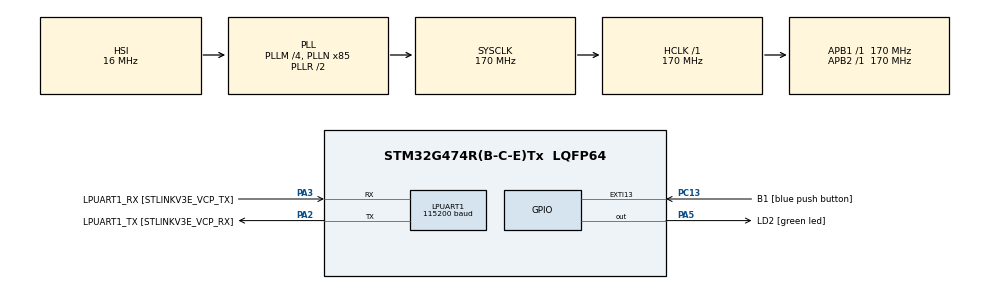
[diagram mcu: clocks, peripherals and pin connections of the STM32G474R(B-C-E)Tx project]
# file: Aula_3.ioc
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LPUART1.BaudRate=115200
LPUART1.WordLength=UART_WORDLENGTH_8B
Mcu.Family=STM32G4
Mcu.Name=STM32G474R(B-C-E)Tx
Mcu.Package=LQFP64
NVIC.EXTI15_10_IRQn=true\:0\:0\:false\:false\:true\:true\:true\:true
NVIC.PriorityGroup=NVIC_PRIORITYGROUP_4
PA13.GPIO_Label=T_SWDIO
PA13.Mode=Serial_Wire
PA13.Signal=SYS_JTMS-SWDIO
PA14.GPIO_Label=T_SWCLK
PA14.Mode=Serial_Wire
PA14.Signal=SYS_JTCK-SWCLK
PA2.GPIO_Label=LPUART1_TX [STLINKV3E_VCP_RX]
PA2.Mode=Asynchronous
PA2.Signal=LPUART1_TX
PA3.GPIO_Label=LPUART1_RX [STLINKV3E_VCP_TX]
PA3.Mode=Asynchronous
PA3.Signal=LPUART1_RX
PA5.GPIO_Label=LD2 [green led]
PA5.Signal=GPIO_Output
PB3.GPIO_Label=T_SWO
PB3.Signal=SYS_JTDO-SWO
PC13.GPIO_Label=B1 [blue push button]
PC13.Signal=GPXTI13
PC14-OSC32_IN.Mode=LSE-External-Oscillator
PC14-OSC32_IN.Signal=RCC_OSC32_IN
PC15-OSC32_OUT.Mode=LSE-External-Oscillator
PC15-OSC32_OUT.Signal=RCC_OSC32_OUT
PF0-OSC_IN.Mode=HSE-External-Oscillator
PF0-OSC_IN.Signal=RCC_OSC_IN
PF1-OSC_OUT.Mode=HSE-External-Oscillator
PF1-OSC_OUT.Signal=RCC_OSC_OUT
ProjectManager.HeapSize=0x200
ProjectManager.StackSize=0x400
ProjectManager.TargetToolchain=STM32CubeIDE
RCC.ADC12Freq_Value=170000000
RCC.ADC345Freq_Value=170000000
RCC.AHBFreq_Value=170000000
RCC.APB1Freq_Value=170000000
RCC.APB1TimFreq_Value=170000000
RCC.APB2Freq_Value=170000000
RCC.APB2TimFreq_Value=170000000
RCC.CortexFreq_Value=170000000
RCC.EXTERNAL_CLOCK_VALUE=12288000
RCC.HCLKFreq_Value=170000000
RCC.HSE_VALUE=24000000
RCC.HSI48_VALUE=48000000
RCC.HSI_VALUE=16000000
RCC.PLLM=RCC_PLLM_DIV4
RCC.PLLN=85
RCC.RTCClockSelection=RCC_RTCCLKSOURCE_LSE
RCC.SYSCLKFreq_VALUE=170000000
RCC.SYSCLKSource=RCC_SYSCLKSOURCE_PLLCLK
RCC.USBFreq_Value=170000000
RCC.VCOOutputFreq_Value=340000000
VP_SYS_VS_DBSignals.Mode=DisableDeadBatterySignals
board=NUCLEO-G474RE

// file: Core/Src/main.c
/* USER CODE BEGIN Header */
/**
  ******************************************************************************
  * @file           : main.c
  * @brief          : Main program body
  ******************************************************************************
  * @attention
  *
  * Copyright (c) 2023 STMicroelectronics.
  * All rights reserved.
  *
  * This software is licensed under terms that can be found in the LICENSE file
  * in the root directory of this software component.
  * If no LICENSE file comes with this software, it is provided AS-IS.
  *
  ******************************************************************************
  */
/* USER CODE END Header */
#include "main.h"

UART_HandleTypeDef hlpuart1;

void SystemClock_Config(void);
static void MX_GPIO_Init(void);
static void MX_LPUART1_UART_Init(void);
/* USER CODE BEGIN PFP */
void buttonsInitButtons(void);
void ledInitLed(void);
/* USER CODE END PFP */

int main(void)
{
  /* USER CODE BEGIN 1 */
	int iCount[6] = {0,0,0,0,0,0};
	buttons i;
  /* USER CODE END 1 */

  /* MCU Configuration--------------------------------------------------------*/

  /* Reset of all peripherals, Initializes the Flash interface and the Systick. */
  HAL_Init();

  /* Configure the system clock */
  SystemClock_Config();

  /* Initialize all configured peripherals */
  MX_GPIO_Init();
  MX_LPUART1_UART_Init();
  /* USER CODE BEGIN 2 */
  buttonsInitButtons();
  ledInitLed();
  /* USER CODE END 2 */

  /* Infinite loop */
  /* USER CODE BEGIN WHILE */
  while (1)
  {

	  /*Testing functions implemented in lab03:*/
	  /*Button Up = Led Green 1, iCount[1]*/
	  /*Button Down = Led Yellow, iCount[2]*/
	  /*Button Left = Led Red*, iCount[3]*/
	  /*Button Right = Led Green2, count4]*/
	  /*Button Enter = Led Blue, iCount[5]*/
	  /*Pressing button 1x = Turn on Led*/
	  /*Pressing button 2x = Turn off Led*/
	  /*Pressing button 3x = Toggle Led*/
	  for(i = UP; i<= ENTER; i++){
		  if(iButtonsReadStatus(i) && (iCount[i] == 0)){
			  iCount[i]++;
			  vLedTurnLedOn(i);
		  }else if(iButtonsReadStatus(i) && (iCount[i] == 1)){
			  iCount[i]++;
			  vLedTurnLedOff(i);
		  }else if(iButtonsReadStatus(i) && (iCount[i] == 2)){
			  iCount[i] ++;
			  vLedToggle(i);
		  }else if(iButtonsReadStatus(i) && (iCount[i] == 3)){
			  iCount[i] = 0;
			  vLedToggle(i);
		  }
		  /*For a better functionality, include the delay*/
		  /*HAL_Delay(50);*/
	  }

    /* USER CODE END WHILE */

  }
}

void SystemClock_Config(void)
{
  RCC_OscInitTypeDef RCC_OscInitStruct = {0};
  RCC_ClkInitTypeDef RCC_ClkInitStruct = {0};

  /** Configure the main internal regulator output voltage
  */
  HAL_PWREx_ControlVoltageScaling(PWR_REGULATOR_VOLTAGE_SCALE1_BOOST);

  /** Initializes the RCC Oscillators according to the specified parameters
  * in the RCC_OscInitTypeDef structure.
  */
  RCC_OscInitStruct.OscillatorType = RCC_OSCILLATORTYPE_HSI;
  RCC_OscInitStruct.HSIState = RCC_HSI_ON;
  RCC_OscInitStruct.HSICalibrationValue = RCC_HSICALIBRATION_DEFAULT;
  RCC_OscInitStruct.PLL.PLLState = RCC_PLL_ON;
  RCC_OscInitStruct.PLL.PLLSource = RCC_PLLSOURCE_HSI;
  RCC_OscInitStruct.PLL.PLLM = RCC_PLLM_DIV4;
  RCC_OscInitStruct.PLL.PLLN = 85;
  RCC_OscInitStruct.PLL.PLLP = RCC_PLLP_DIV2;
  RCC_OscInitStruct.PLL.PLLQ = RCC_PLLQ_DIV2;
  RCC_OscInitStruct.PLL.PLLR = RCC_PLLR_DIV2;
  if (HAL_RCC_OscConfig(&RCC_OscInitStruct) != HAL_OK)
  {
    Error_Handler();
  }

  /** Initializes the CPU, AHB and APB buses clocks
  */
  RCC_ClkInitStruct.ClockType = RCC_CLOCKTYPE_HCLK|RCC_CLOCKTYPE_SYSCLK
                              |RCC_CLOCKTYPE_PCLK1|RCC_CLOCKTYPE_PCLK2;
  RCC_ClkInitStruct.SYSCLKSource = RCC_SYSCLKSOURCE_PLLCLK;
  RCC_ClkInitStruct.AHBCLKDivider = RCC_SYSCLK_DIV1;
  RCC_ClkInitStruct.APB1CLKDivider = RCC_HCLK_DIV1;
  RCC_ClkInitStruct.APB2CLKDivider = RCC_HCLK_DIV1;

  if (HAL_RCC_ClockConfig(&RCC_ClkInitStruct, FLASH_LATENCY_4) != HAL_OK)
  {
    Error_Handler();
  }
}

static void MX_LPUART1_UART_Init(void)
{

  hlpuart1.Instance = LPUART1;
  hlpuart1.Init.BaudRate = 115200;
  hlpuart1.Init.WordLength = UART_WORDLENGTH_8B;
  hlpuart1.Init.StopBits = UART_STOPBITS_1;
  hlpuart1.Init.Parity = UART_PARITY_NONE;
  hlpuart1.Init.Mode = UART_MODE_TX_RX;
  hlpuart1.Init.HwFlowCtl = UART_HWCONTROL_NONE;
  hlpuart1.Init.OneBitSampling = UART_ONE_BIT_SAMPLE_DISABLE;
  hlpuart1.Init.ClockPrescaler = UART_PRESCALER_DIV1;
  hlpuart1.AdvancedInit.AdvFeatureInit = UART_ADVFEATURE_NO_INIT;
  if (HAL_UART_Init(&hlpuart1) != HAL_OK)
  {
    Error_Handler();
  }
  if (HAL_UARTEx_SetTxFifoThreshold(&hlpuart1, UART_TXFIFO_THRESHOLD_1_8) != HAL_OK)
  {
    Error_Handler();
  }
  if (HAL_UARTEx_SetRxFifoThreshold(&hlpuart1, UART_RXFIFO_THRESHOLD_1_8) != HAL_OK)
  {
    Error_Handler();
  }
  if (HAL_UARTEx_DisableFifoMode(&hlpuart1) != HAL_OK)
  {
    Error_Handler();
  }

}

static void MX_GPIO_Init(void)
{
  GPIO_InitTypeDef GPIO_InitStruct = {0};

  /* GPIO Ports Clock Enable */
  __HAL_RCC_GPIOC_CLK_ENABLE();
  __HAL_RCC_GPIOF_CLK_ENABLE();
  __HAL_RCC_GPIOA_CLK_ENABLE();
  __HAL_RCC_GPIOB_CLK_ENABLE();

  /*Configure GPIO pin Output Level */
  HAL_GPIO_WritePin(LD2_GPIO_Port, LD2_Pin, GPIO_PIN_RESET);

  /*Configure GPIO pin : B1_Pin */
  GPIO_InitStruct.Pin = B1_Pin;
  GPIO_InitStruct.Mode = GPIO_MODE_IT_RISING;
  GPIO_InitStruct.Pull = GPIO_NOPULL;
  HAL_GPIO_Init(B1_GPIO_Port, &GPIO_InitStruct);

  /*Configure GPIO pin : LD2_Pin */
  GPIO_InitStruct.Pin = LD2_Pin;
  GPIO_InitStruct.Mode = GPIO_MODE_OUTPUT_PP;
  GPIO_InitStruct.Pull = GPIO_NOPULL;
  GPIO_InitStruct.Speed = GPIO_SPEED_FREQ_LOW;
  HAL_GPIO_Init(LD2_GPIO_Port, &GPIO_InitStruct);

  /* EXTI interrupt init*/
  HAL_NVIC_SetPriority(EXTI15_10_IRQn, 0, 0);
  HAL_NVIC_EnableIRQ(EXTI15_10_IRQn);

}

/* USER CODE BEGIN 4 */
void buttonsInitButtons(void){
	/*Initializing all the buttons registers, as knowns as: PC and PB*/
	RCC->AHB2ENR |= 0x2;
	RCC->AHB2ENR |= 0x4;
	/*Alternative way: SET_BIT(RCC->AHB2ENR,PB)*/
	/*Clock initialized*/

	/*Setting mode for BT_Enter - PB0 - positions 0 and 1 = 3dec*/
	CLEAR_BIT(BT_ENTER_PORT->MODER,3); /*00 = input mode*/
	/*Setting mode for BT_UP - PC1 - positions 2 and 3 = 12 (3*4)dec and 0xC*/
	CLEAR_BIT(BT_UP_PORT->MODER,(3<<(1*2))); /*00 = input mode*/
	/*Setting mode for BT_DOWN - PC2 - positions 4 and 5 = 48(3*4^2)dec and 0x30*/
	CLEAR_BIT(BT_DOWN_PORT->MODER,(3<<(2*2))); /*00 = input mode*/
	/*Setting mode for BT_LEFT - PC3 - positions 6 and 7 = 192(3*4^3)dec and  0xC0*/
	CLEAR_BIT(BT_LEFT_PORT->MODER,(3<<(3*2))); /*00 = input mode*/
	/*Setting mode for BT_RIGHT - PC4 - positions 8 and 9 = 192(3*4^4)dec and 0x300*/
	CLEAR_BIT(BT_RIGHT_PORT->MODER,(3<<(4*2))); /*00 = input mode*/

	/*Setting Pull-up Pull-down config (Same logic as before)*/
	CLEAR_BIT(BT_ENTER_PORT->PUPDR,3); /*00 = No pull-up or pull-down*/
	CLEAR_BIT(BT_UP_PORT->PUPDR,(3<<(1*2)));
	CLEAR_BIT(BT_DOWN_PORT->PUPDR,(3<<(2*2)));
	CLEAR_BIT(BT_LEFT_PORT->PUPDR,(3<<(3*2)));
	CLEAR_BIT(BT_RIGHT_PORT->PUPDR,(3<<(4*2)));
}

void ledInitLed(void){
	RCC->AHB2ENR |= 0x0; /*Enabling clock for GPIOA*/

	/*Setting operation mode for all the LEDS*/
	/*Output mode = 01*/
	/*Green Led 1 - Pin 5 */
	SET_BIT(LED_GREEN1_PORT->MODER,(1<<(5*2)));
	CLEAR_BIT(LED_GREEN1_PORT->MODER,(1<<((5*2)+1)));
	/*Yellow Led - Pin 4 */
	SET_BIT(LED_YELLOW_PORT->MODER,(1<<(4*2)));
	CLEAR_BIT(LED_YELLOW_PORT->MODER,(1<<((4*2)+1)));
	/*Green Led 2 - Pin 12*/
	SET_BIT(LED_GREEN2_PORT->MODER,(1<<(12*2)));
	CLEAR_BIT(LED_GREEN2_PORT->MODER,(1<<((12*2)+1)));
	/*Blue Led - Pin 5*/
	SET_BIT(LED_BLUE_PORT->MODER,(1<<(5*2)));
	CLEAR_BIT(LED_BLUE_PORT->MODER,(1<<((5*2)+1)));
	/*Red Led - Pino 14 */
	SET_BIT(LED_RED_PORT->MODER,(1<<(14*2)));
	CLEAR_BIT(LED_RED_PORT->MODER,(1<<((14*2)+1)));

	/*Setting Pull-up Pull-down config (Same logic as before)*/
	CLEAR_BIT(LED_GREEN1_PORT->PUPDR,3<<(5*2)); /*00 = No pull-up or pull-down*/
	CLEAR_BIT(LED_YELLOW_PORT->PUPDR,3<<(4*2));
	CLEAR_BIT(LED_RED_PORT->PUPDR,3<<(14*2));
	CLEAR_BIT(LED_GREEN2_PORT->PUPDR,3<<(12*2));
	CLEAR_BIT(LED_BLUE_PORT->PUPDR,3<<(5*2));

	/*Setting Speed config (Same logic as before)*/
	CLEAR_BIT(LED_GREEN1_PORT->OSPEEDR,3<<(5*2)); /*00 = Low Speed*/
	CLEAR_BIT(LED_YELLOW_PORT->OSPEEDR,3<<(4*2));
	CLEAR_BIT(LED_RED_PORT->OSPEEDR,3<<(15*2));
	CLEAR_BIT(LED_GREEN2_PORT->OSPEEDR,3<<(12*2));
	CLEAR_BIT(LED_BLUE_PORT->OSPEEDR,3<<(5*2));
}

/* USER CODE END 4 */

void Error_Handler(void)
{
  __disable_irq();
  while (1)
  {
  }
}
